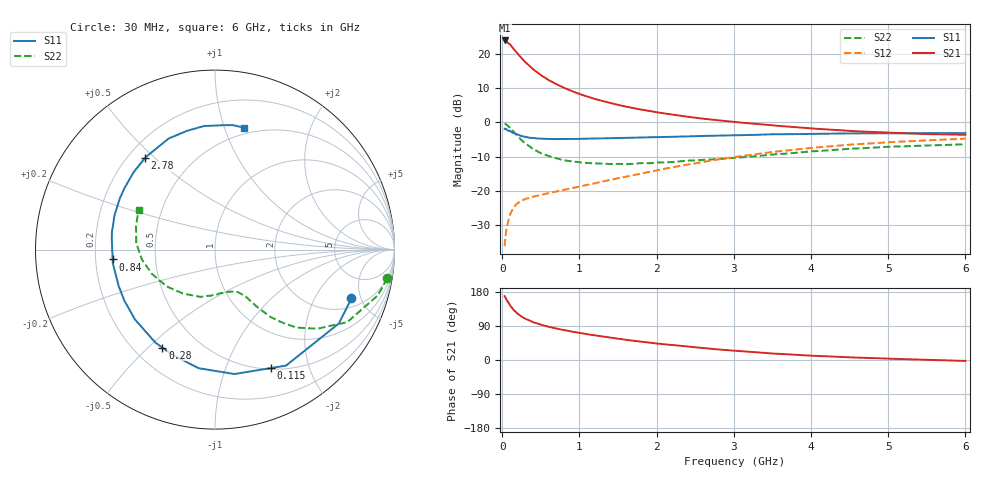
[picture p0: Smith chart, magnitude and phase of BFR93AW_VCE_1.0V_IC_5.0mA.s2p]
! Infineon Technologies  Discrete & RF Semiconductors
! BFR93AW
! VCE =  1.0 V,  IC =  5.0 mA
! Common Emitter S-Parameters:  Nov 2015
# GHz  S  MA  R  50
!  f  S11  S21  S12  S22
! GHz  MAG  ANG  MAG  ANG  MAG  ANG  MAG  ANG
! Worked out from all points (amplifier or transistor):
!   206 points, 30 MHz to 6 GHz, reference 50 ohm
!   highest |S21| = 24.1 dB at 30 MHz (marker M1)
!   |S21| within 3 dB of that: start of sweep to 167 MHz
!   unconditionally stable (mu >= 1): 894.9 MHz to 2.664 GHz
!   at 200 MHz: K = 0.31, MSG = 21.9 dB, |S12| = -23.7 dB
!   at 1.56 GHz: K = 1.12, MAG = 8.3 dB, |S12| = -16.1 dB
!   at 6 GHz: K = 0.99, MSG = 0.6 dB, |S12| = -4.7 dB
!   S11 on the Smith chart (normalised r, x): 30 MHz: 2.65, -4.14; 115 MHz: 0.51, -1.45; 280 MHz: 0.31, -0.55; 840 MHz: 0.27, -0.04; 2.78 GHz: 0.27, +0.46; 6 GHz: 0.44, +1.17
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0.03  0.8074 -19.7  15.96 168.4  0.0153 77.3  0.9738 -9.5
0.05  0.8036 -30.8  15.6 160.6  0.0256 74.2  0.9423 -15.7
0.055  0.7911 -33.4  15.38 159.1  0.0274 72.3  0.9301 -16.9
0.1  0.7578 -58.5  13.96 144.2  0.0447 62.3  0.8407 -28.7
0.115  0.7293 -64.9  13.28 140.7  0.0484 59.1  0.8033 -31.1
0.15  0.7018 -81.1  11.91 131.3  0.0577 53.3  0.7223 -37.6
0.2  0.6671 -97.8  10.21 121.8  0.0656 48.1  0.6276 -43.8
0.24  0.6368 -108.9  9.03 116.0  0.0701 44.7  0.5635 -46.8
0.28  0.6199 -118.2  8.075 111.1  0.0738 42.6  0.5135 -49.1
0.3  0.6156 -122.6  7.639 108.6  0.0755 41.8  0.4908 -50.3
0.4  0.592 -138.9  6.007 99.7  0.0814 40.7  0.4066 -53.3
0.5  0.5795 -150.6  4.95 92.9  0.0864 41.0  0.3533 -55.2
0.6  0.5738 -159.0  4.186 87.6  0.092 42.4  0.3205 -56.4
0.84  0.573 -174.5  3.08 77.3  0.1048 46.2  0.2745 -61.0
1.04  0.5753 176.3  2.526 70.1  0.1174 49.4  0.2572 -65.3
1.5  0.5919 160.7  1.808 56.2  0.1518 55.1  0.2472 -78.7
2.02  0.6098 145.6  1.4 43.1  0.2003 57.1  0.2584 -95.7
2.78  0.6425 127.6  1.079 28.2  0.2848 54.7  0.2899 -119.8
3.1  0.6503 120.7  0.994 23.2  0.3209 52.2  0.3077 -129.7
4.1  0.6808 101.7  0.803 10.6  0.4321 41.4  0.3817 -161.8
5.1  0.6935 87.1  0.701 2.8  0.5191 29.1  0.4424 172.8
6  0.6986 76.4  0.659 -2.4  0.5793 18.8  0.479 152.7
